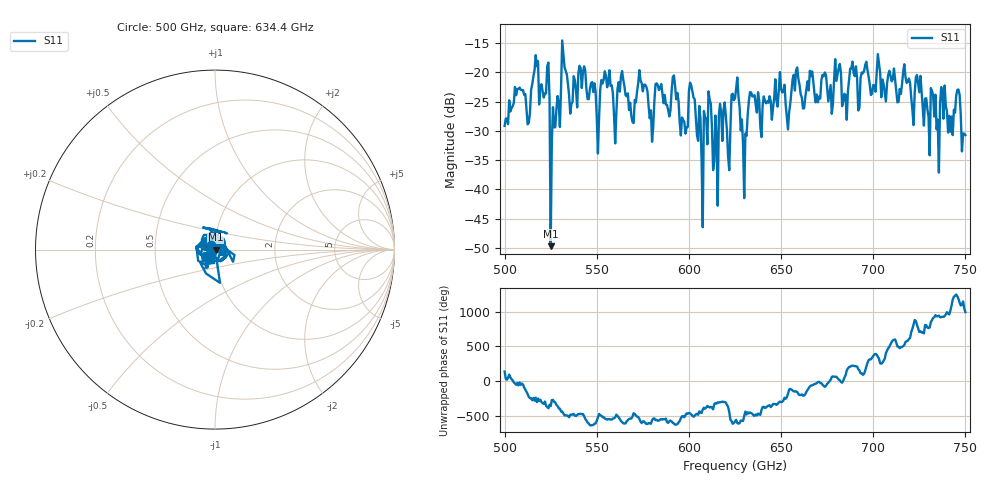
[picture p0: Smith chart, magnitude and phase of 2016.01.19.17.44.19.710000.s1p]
!Created with skrf (http://scikit-rf.org).
# GHz S RI R 50.0
!freq ReS11 ImS11
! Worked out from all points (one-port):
!   401 points, 500 GHz to 750 GHz, reference 50 ohm
!   lowest |S11| = -49.7 dB at 525 GHz (marker M1), VSWR 1.01, Z = 50.3 - j0.022 ohm
!   |S11| at or under -10 dB: start of sweep to end of sweep
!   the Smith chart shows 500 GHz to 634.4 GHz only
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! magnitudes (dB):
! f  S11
! 500 GHz  -29.2
! 513.1 GHz  -28.6
! 516.9 GHz  -17.1
! 523.1 GHz  -19.0
! 525 GHz  -49.7
! 526.2 GHz  -26.0
! 531.2 GHz  -14.6
! 550.6 GHz  -33.9
! 562.5 GHz  -23.3
! 568.8 GHz  -27.4
! 573.1 GHz  -19.6
! 579.4 GHz  -26.5
! 583.1 GHz  -22.2
! 593.8 GHz  -23.5
! 598.1 GHz  -30.5
! 601.9 GHz  -23.3
! 606.2 GHz  -28.0
! 610.6 GHz  -23.3
! 614.4 GHz  -27.4
! 625 GHz  -24.4
! 630 GHz  -41.5
! 633.8 GHz  -23.4
! 656.2 GHz  -21.2
! 687.5 GHz  -19.4
! 718.8 GHz  -21.6
! 734.4 GHz  -29.7
! 746.2 GHz  -22.9
! 750 GHz  -30.7
